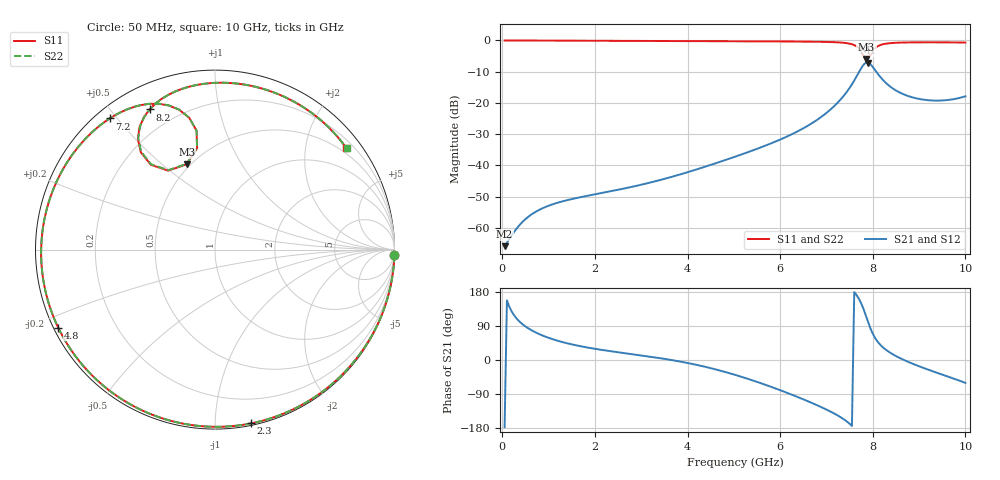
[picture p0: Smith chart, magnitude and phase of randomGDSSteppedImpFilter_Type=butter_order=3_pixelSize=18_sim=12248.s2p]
! freq	dB(S11)	phase(S11)	dB(S12)	phase(S12)
!  dB(S21)	phase(S21)	dB(S22)	phase(S22)
!S-par simulation data
#  GHz  S  DB  R 50
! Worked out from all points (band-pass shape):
!   200 points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, 50 MHz to 10 GHz, reference 50 ohm
!   highest |S21| = -7.07 dB at 7.9 GHz (marker M1); lowest = -65.8 dB at 50 MHz (marker M2)
!   |S21| within 3 dB of the highest: 7.704 GHz to 8.078 GHz (374.1 MHz wide, 4.74 % of centre)
!   lowest |S11| = -6.0 dB at 7.85 GHz (marker M3), VSWR 3.01, Z = 23.9 + j30.4 ohm
!   |S11| at or under -10 dB: nowhere
!   |S22| runs from -6.0 to 0.0 dB; largest |S21 - S12| = 0
!   S11 on the Smith chart (normalised r, x): 50 MHz: 0, -64; 2.3 GHz: 0.01, -1.23; 4.8 GHz: 0.01, -0.24; 7.2 GHz: 0.04, +0.48; 8.2 GHz: 0.10, +0.63; 10 GHz: 0.37, +2.88
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0.05  -0.00 -1.8  -65.83 -177.5  -65.83 -177.5  -0.00 -1.8
0.4  -0.01 -14.2  -58.62 98.2  -58.62 98.2  -0.01 -14.2
0.7  -0.03 -24.7  -55.01 74.0  -55.01 74.0  -0.03 -24.7
1.75  -0.08 -60.3  -49.96 34.9  -49.96 34.9  -0.08 -60.3
2.3  -0.10 -78.2  -48.37 23.9  -48.37 23.9  -0.10 -78.2
3.4  -0.14 -112.2  -44.69 5.0  -44.69 5.0  -0.14 -112.2
4.15  -0.18 -134.5  -41.48 -11.6  -41.48 -11.6  -0.18 -134.5
4.8  -0.21 -153.5  -38.35 -31.2  -38.35 -31.2  -0.21 -153.5
5.05  -0.23 -160.9  -37.08 -40.0  -37.08 -40.0  -0.23 -160.9
5.9  -0.30 173.6  -32.35 -75.1  -32.35 -75.1  -0.29 173.5
6.7  -0.39 147.6  -26.35 -114.1  -26.35 -114.1  -0.39 147.5
7.2  -0.57 128.7  -20.54 -143.4  -20.54 -143.4  -0.56 128.7
7.6  -1.48 107.8  -12.82 179.3  -12.82 179.3  -1.47 107.8
7.75  -3.48 98.8  -8.88 149.4  -8.88 149.4  -3.47 98.8
7.85  -6.01 108.3  -7.11 117.4  -7.11 117.4  -5.96 108.2
7.9  -5.83 120.7  -7.07 99.5  -7.07 99.5  -5.79 120.4
8  -3.32 127.3  -8.48 69.3  -8.48 69.3  -3.31 127.0
8.2  -1.29 115.0  -12.33 35.6  -12.33 35.6  -1.29 114.8
8.35  -0.90 106.6  -14.45 21.3  -14.45 21.3  -0.90 106.4
8.7  -0.64 90.4  -17.44 -1.5  -17.44 -1.5  -0.64 90.2
9.1  -0.59 73.9  -18.96 -21.2  -18.96 -21.2  -0.58 73.7
10  -0.68 37.7  -17.86 -60.4  -17.86 -60.4  -0.67 37.5
